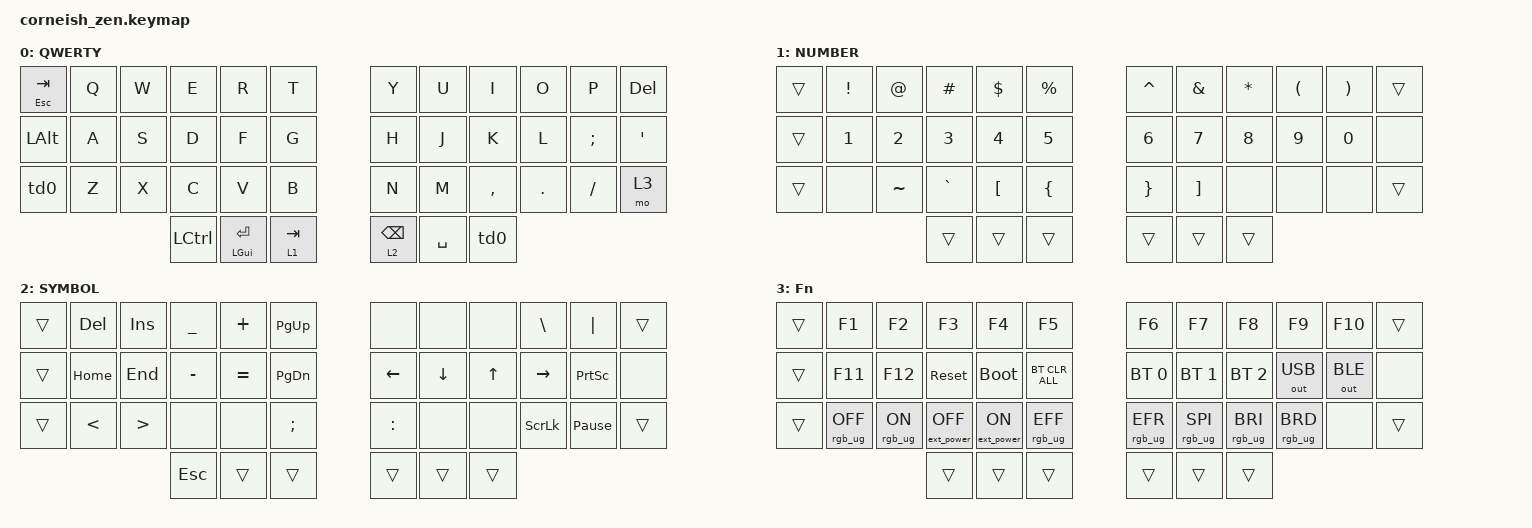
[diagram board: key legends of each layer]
/*
 * Copyright (c) 2020 The ZMK Contributors
 *
 * SPDX-License-Identifier: MIT
 */

#include <behaviors.dtsi>
#include <dt-bindings/zmk/bt.h>
#include <dt-bindings/zmk/ext_power.h>
#include <dt-bindings/zmk/keys.h>
#include <dt-bindings/zmk/outputs.h>
#include <dt-bindings/zmk/rgb.h>

/ {
    chosen {
        zmk,matrix_transform = &default_transform;

        // zmk,matrix_transform = &five_column_transform;
    };
};

/ {
    behaviors {
        td0: td0 {
            compatible = "zmk,behavior-tap-dance";
            label = "TD0";
            #binding-cells = <0>;
            bindings = <&kp LEFT_SHIFT>, <&kp CAPS>;
        };
    };

    keymap {
        compatible = "zmk,keymap";

        default_layer {
            display-name = "QWERTY";
            bindings = <
&mt ESC TAB   &kp Q  &kp W  &kp E     &kp R  &kp T          &kp Y        &kp U  &kp I      &kp O    &kp P     &kp DEL
&kp LALT      &kp A  &kp S  &kp D     &kp F  &kp G          &kp H        &kp J  &kp K      &kp L    &kp SEMI  &kp SQT
&td0          &kp Z  &kp X  &kp C     &kp V  &kp B          &kp N        &kp M  &kp COMMA  &kp DOT  &kp FSLH  &mo 3
                 &kp LCTRL  &mt LGUI ENTER  &lt 1 TAB    &lt 2 BSPC     &kp SPACE     &td0
            >;
        };
        lower_layer {
            display-name = "NUMBER";
            bindings = <
&trans  &kp EXCL      &kp AT        &kp HASH   &kp DLLR  &kp PRCNT    &kp CARET  &kp AMPS   &kp ASTRK  &kp LPAR  &kp RPAR  &trans
&trans  &kp N1        &kp N2        &kp N3     &kp N4    &kp N5       &kp N6     &kp N7     &kp N8     &kp N9    &kp N0    &none
&trans  &none         &kp TILDE     &kp GRAVE  &kp LBKT  &kp LBRC     &kp RBRC  &kp RBKT    &none      &none     &none     &trans
                &trans             &trans            &trans             &trans          &trans            &trans 
            >;
        };
        raise_layer {
            display-name = "SYMBOL";
            bindings = <
&trans  &kp DEL       &kp INS       &kp UNDER    &kp PLUS   &kp PG_UP       &none     &none          &none        &kp BSLH        &kp PIPE          &trans
&trans  &kp HOME      &kp END       &kp MINUS    &kp EQUAL  &kp PG_DN       &kp LEFT  &kp DOWN       &kp UP       &kp RIGHT       &kp PRINTSCREEN   &none
&trans  &kp LT        &kp GT        &none        &none      &kp SEMI        &kp COLON    &none          &none        &kp SCROLLLOCK  &kp PAUSE_BREAK   &trans
                                    &kp ESC    &trans     &trans     &trans    &trans     &trans
            >;
        };
        layer_3 {
            display-name = "Fn";
            bindings = <
&trans  &kp F1           &kp F2           &kp F3             &kp F4            &kp F5            &kp F6             &kp F7           &kp F8           &kp F9            &kp F10        &trans
&trans  &kp F11          &kp F12          &sys_reset         &bootloader       &bt BT_CLR_ALL    &bt BT_SEL 0     &bt BT_SEL 1     &bt BT_SEL 2       &out OUT_USB      &out OUT_BLE  &none
&trans  &rgb_ug RGB_OFF  &rgb_ug RGB_ON   &ext_power EP_OFF  &ext_power EP_ON  &rgb_ug RGB_EFF   &rgb_ug RGB_EFR    &rgb_ug RGB_SPI  &rgb_ug RGB_BRI  &rgb_ug RGB_BRD   &none           &trans
                                  &trans  &trans      &trans     &trans        &trans         &trans
            >;
        };
    };
};
